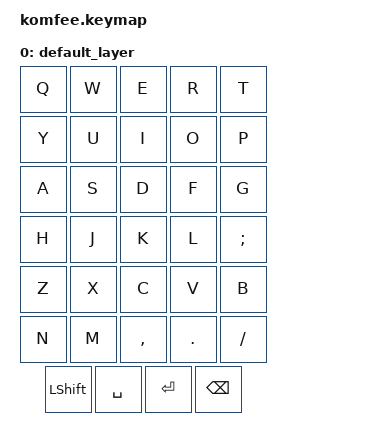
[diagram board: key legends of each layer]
#include <behaviors.dtsi>
#include <dt-bindings/zmk/keys.h>

/ {
    keymap {
        compatible = "zmk,keymap";

        default_layer {

            /*
             * --------------------------------------------------------------
             * |   Q  |  W  |  E  |  R  |  T  |  Y  |  U  |  I  |  O  |  P  |
             * |   A  |  S  |  D  |  F  |  G  |  H  |  J  |  K  |  L  |SEMIC|
             * |   Z  |  X  |  C  |  V  |  B  |  M  |  N  |COMMA| DOT |SLASH|
             * -------------------|LSHFT|SPACE| RET |BKSPC|------------------
             *                    -------------------------                  
             */

            bindings = <
            &kp Q     &kp W     &kp E     &kp R     &kp T    
                &kp Y     &kp U     &kp I     &kp O     &kp P

            &kp A     &kp S     &kp D     &kp F     &kp G    
                &kp H     &kp J     &kp K     &kp L     &kp SEMI

            &kp Z     &kp X     &kp C     &kp V     &kp B    
                &kp N     &kp M     &kp COMMA &kp DOT   &kp FSLH

            &kp LSHIFT &kp SPACE &kp RET   &kp BSPC
            >;
        };
    };
};
